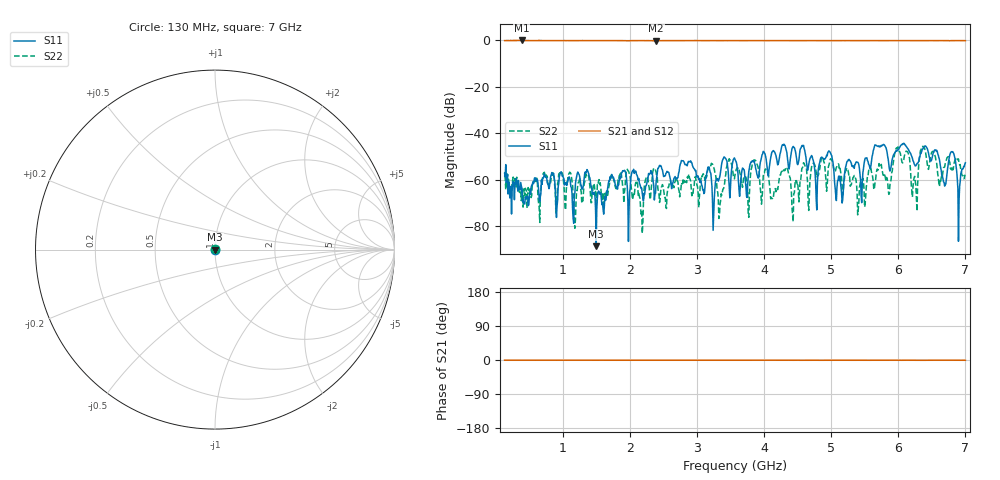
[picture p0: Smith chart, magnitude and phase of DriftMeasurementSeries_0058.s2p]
# Hz S RI R 50.000000
! Metas.Vna.Tools, 2.8.8664.20301
! Metas.Vna.Data, 2.8.8664.20285
! Created: UTC 2024.02.11 10:08:28
! FREQ  re:S1,1  im:S1,1  re:S2,1  im:S2,1  re:S1,2  im:S1,2  re:S2,2  im:S2,2
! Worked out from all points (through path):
!   801 points, 130 MHz to 7 GHz, reference 50 ohm
!   highest |S21| = -0.04 dB at 387.6 MHz (marker M1); lowest = -0.2 dB at 2.389 GHz (marker M2)
!   lowest |S11| = -88.5 dB at 1.495 GHz (marker M3), VSWR 1.00, Z = 50 + j0.00351 ohm
!   |S11| at or under -10 dB: start of sweep to end of sweep
!   |S22| runs from -83.0 to -45.6 dB; largest |S21 - S12| = 0.02
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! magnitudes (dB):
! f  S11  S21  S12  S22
! 130 MHz  -57.1  -0.1  0.0  -58.1
! 387.6 MHz  -63.8  0.0  0.0  -63.2
! 1.281 GHz  -63.9  -0.1  0.0  -69.9
! 1.495 GHz  -88.5  -0.1  0.0  -71.4
! 1.968 GHz  -69.2  -0.2  0.0  -56.1
! 2.165 GHz  -63.7  -0.1  0.0  -74.7
! 2.389 GHz  -61.2  -0.2  0.0  -56.6
! 2.423 GHz  -54.9  -0.1  0.0  -64.9
! 3.247 GHz  -75.3  -0.1  0.0  -54.6
! 3.342 GHz  -58.1  -0.1  0.0  -70.4
! 3.565 GHz  -51.1  -0.1  0.0  -57.8
! 4.432 GHz  -45.6  -0.1  0.0  -78.0
! 4.716 GHz  -50.0  -0.1  0.0  -53.3
! 5.154 GHz  -65.5  -0.1  0.0  -59.1
! 5.858 GHz  -53.1  -0.1  0.0  -66.2
! 5.987 GHz  -47.1  -0.1  0.0  -46.1
! 6.244 GHz  -53.6  -0.1  0.0  -58.5
! 6.365 GHz  -46.7  -0.1  0.0  -45.6
! 6.682 GHz  -61.1  -0.1  0.0  -54.5
! 6.811 GHz  -47.8  -0.1  0.0  -55.7
! 6.906 GHz  -68.7  -0.1  0.0  -52.9
! 7 GHz  -52.6  -0.1  0.0  -57.8
